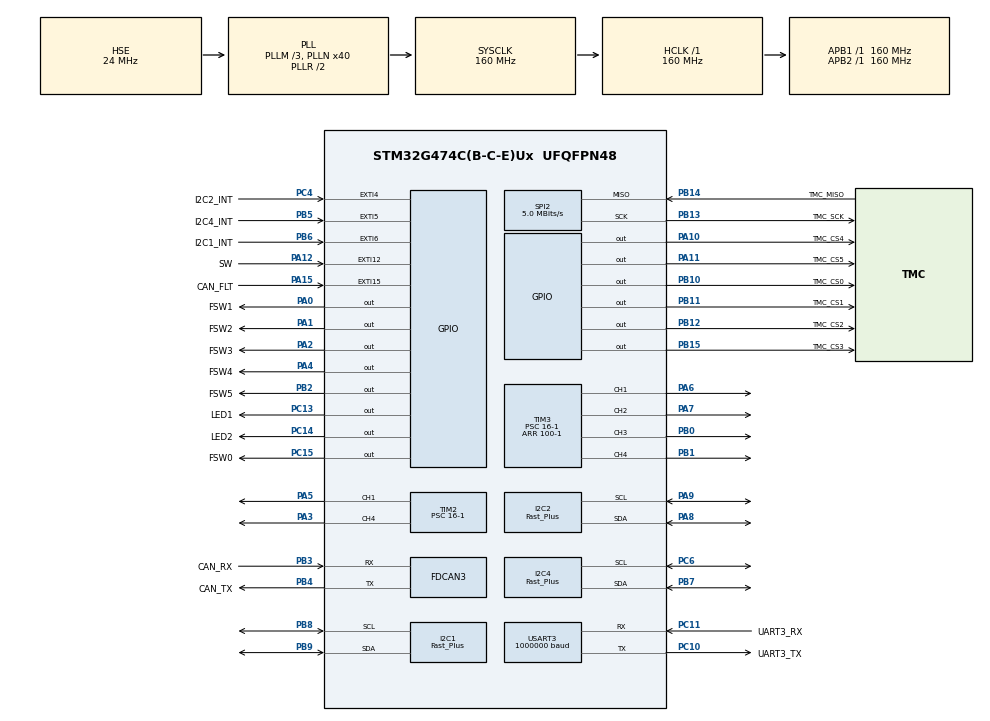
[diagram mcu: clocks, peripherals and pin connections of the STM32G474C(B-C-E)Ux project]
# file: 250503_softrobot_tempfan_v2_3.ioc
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Dma.Request0=SPI2_RX
Dma.Request1=USART3_TX
Dma.SPI2_RX.0.Direction=DMA_PERIPH_TO_MEMORY
Dma.SPI2_RX.0.EventEnable=DISABLE
Dma.SPI2_RX.0.Instance=DMA1_Channel2
Dma.SPI2_RX.0.MemDataAlignment=DMA_MDATAALIGN_BYTE
Dma.SPI2_RX.0.MemInc=DMA_MINC_ENABLE
Dma.SPI2_RX.0.Mode=DMA_NORMAL
Dma.SPI2_RX.0.PeriphDataAlignment=DMA_PDATAALIGN_BYTE
Dma.SPI2_RX.0.PeriphInc=DMA_PINC_DISABLE
Dma.SPI2_RX.0.Polarity=HAL_DMAMUX_REQ_GEN_RISING
Dma.SPI2_RX.0.Priority=DMA_PRIORITY_HIGH
Dma.SPI2_RX.0.RequestNumber=1
Dma.SPI2_RX.0.SignalID=NONE
Dma.SPI2_RX.0.SyncEnable=DISABLE
Dma.SPI2_RX.0.SyncPolarity=HAL_DMAMUX_SYNC_NO_EVENT
Dma.SPI2_RX.0.SyncRequestNumber=1
Dma.SPI2_RX.0.SyncSignalID=NONE
Dma.USART3_TX.1.Direction=DMA_MEMORY_TO_PERIPH
Dma.USART3_TX.1.EventEnable=DISABLE
Dma.USART3_TX.1.Instance=DMA1_Channel1
Dma.USART3_TX.1.MemDataAlignment=DMA_MDATAALIGN_BYTE
Dma.USART3_TX.1.MemInc=DMA_MINC_ENABLE
Dma.USART3_TX.1.Mode=DMA_NORMAL
Dma.USART3_TX.1.PeriphDataAlignment=DMA_PDATAALIGN_BYTE
Dma.USART3_TX.1.PeriphInc=DMA_PINC_DISABLE
Dma.USART3_TX.1.Polarity=HAL_DMAMUX_REQ_GEN_RISING
Dma.USART3_TX.1.Priority=DMA_PRIORITY_LOW
Dma.USART3_TX.1.RequestNumber=1
Dma.USART3_TX.1.SignalID=NONE
Dma.USART3_TX.1.SyncEnable=DISABLE
Dma.USART3_TX.1.SyncPolarity=HAL_DMAMUX_SYNC_NO_EVENT
Dma.USART3_TX.1.SyncRequestNumber=1
Dma.USART3_TX.1.SyncSignalID=NONE
FDCAN3.CalculateBaudRateNominal=1000000
FDCAN3.CalculateTimeBitNominal=1000
FDCAN3.CalculateTimeQuantumNominal=25.0
FDCAN3.DataPrescaler=8
FDCAN3.DataSyncJumpWidth=10
FDCAN3.DataTimeSeg1=9
FDCAN3.DataTimeSeg2=10
FDCAN3.ExtFiltersNbr=1
FDCAN3.FrameFormat=FDCAN_FRAME_FD_NO_BRS
FDCAN3.NominalPrescaler=4
FDCAN3.NominalSyncJumpWidth=5
FDCAN3.NominalTimeSeg1=34
FDCAN3.NominalTimeSeg2=5
FDCAN3.StdFiltersNbr=1
I2C1.I2C_Speed_Mode=I2C_Fast_Plus
I2C1.Timing=0x10B30F25
I2C2.I2C_Speed_Mode=I2C_Fast_Plus
I2C2.Timing=0x10B30F25
I2C4.I2C_Speed_Mode=I2C_Fast_Plus
I2C4.Timing=0x10B30F25
Mcu.Family=STM32G4
Mcu.Name=STM32G474C(B-C-E)Ux
Mcu.Package=UFQFPN48
NVIC.DMA1_Channel1_IRQn=true\:0\:1\:false\:false\:true\:false\:true\:true
NVIC.DMA1_Channel2_IRQn=true\:0\:1\:false\:false\:true\:false\:true\:true
NVIC.EXTI15_10_IRQn=true\:0\:0\:false\:false\:true\:true\:true\:true
NVIC.FDCAN3_IT0_IRQn=true\:0\:1\:false\:false\:true\:true\:true\:true
NVIC.PriorityGroup=NVIC_PRIORITYGROUP_1
NVIC.SPI2_IRQn=true\:0\:2\:false\:false\:true\:true\:true\:true
NVIC.TIM4_IRQn=true\:1\:0\:true\:false\:true\:true\:true\:true
NVIC.TIM5_IRQn=true\:1\:0\:true\:false\:true\:true\:true\:true
NVIC.USART3_IRQn=true\:0\:3\:false\:false\:true\:true\:true\:true
PA0.GPIO_Label=FSW1
PA0.Signal=GPIO_Output
PA1.GPIO_Label=FSW2
PA1.Signal=GPIO_Output
PA10.GPIO_Label=TMC_CS4
PA10.GPIO_Speed=GPIO_SPEED_FREQ_HIGH
PA10.PinState=GPIO_PIN_SET
PA10.Signal=GPIO_Output
PA11.GPIO_Label=TMC_CS5
PA11.GPIO_Speed=GPIO_SPEED_FREQ_HIGH
PA11.PinState=GPIO_PIN_SET
PA11.Signal=GPIO_Output
PA12.GPIO_Label=SW
PA12.GPIO_ModeDefaultEXTI=GPIO_MODE_IT_FALLING
PA12.Signal=GPXTI12
PA13.Mode=Serial_Wire
PA13.Signal=SYS_JTMS-SWDIO
PA14.Mode=Serial_Wire
PA14.Signal=SYS_JTCK-SWCLK
PA15.GPIO_Label=CAN_FLT
PA15.GPIO_ModeDefaultEXTI=GPIO_MODE_IT_FALLING
PA15.Signal=GPXTI15
PA2.GPIO_Label=FSW3
PA2.Signal=GPIO_Output
PA3.Signal=S_TIM2_CH4
PA4.GPIO_Label=FSW4
PA4.Signal=GPIO_Output
PA5.Signal=S_TIM2_CH1
PA6.Signal=S_TIM3_CH1
PA7.Signal=S_TIM3_CH2
PA8.Mode=I2C
PA8.Signal=I2C2_SDA
PA9.Mode=I2C
PA9.Signal=I2C2_SCL
PB0.Signal=S_TIM3_CH3
PB1.Signal=S_TIM3_CH4
PB10.GPIO_Label=TMC_CS0
PB10.GPIO_Speed=GPIO_SPEED_FREQ_HIGH
PB10.PinState=GPIO_PIN_SET
PB10.Signal=GPIO_Output
PB11.GPIO_Label=TMC_CS1
PB11.GPIO_Speed=GPIO_SPEED_FREQ_HIGH
PB11.PinState=GPIO_PIN_SET
PB11.Signal=GPIO_Output
PB12.GPIO_Label=TMC_CS2
PB12.GPIO_Speed=GPIO_SPEED_FREQ_HIGH
PB12.PinState=GPIO_PIN_SET
PB12.Signal=GPIO_Output
PB13.GPIO_Label=TMC_SCK
PB13.GPIO_Speed=GPIO_SPEED_FREQ_VERY_HIGH
PB13.Mode=RX_Only_Simplex_Unidirect_Master
PB13.Signal=SPI2_SCK
PB14.GPIO_Label=TMC_MISO
PB14.GPIO_Speed=GPIO_SPEED_FREQ_VERY_HIGH
PB14.Mode=RX_Only_Simplex_Unidirect_Master
PB14.Signal=SPI2_MISO
PB15.GPIO_Label=TMC_CS3
PB15.GPIO_Speed=GPIO_SPEED_FREQ_HIGH
PB15.PinState=GPIO_PIN_SET
PB15.Signal=GPIO_Output
PB2.GPIO_Label=FSW5
PB2.Signal=GPIO_Output
PB3.GPIO_Label=CAN_RX
PB3.GPIO_Speed=GPIO_SPEED_FREQ_VERY_HIGH
PB3.Mode=FDCAN_Activate
PB3.Signal=FDCAN3_RX
PB4.GPIO_Label=CAN_TX
PB4.GPIO_Speed=GPIO_SPEED_FREQ_VERY_HIGH
PB4.Mode=FDCAN_Activate
PB4.Signal=FDCAN3_TX
PB5.GPIO_Label=I2C4_INT
PB5.GPIO_ModeDefaultEXTI=GPIO_MODE_IT_FALLING
PB5.Signal=GPXTI5
PB6.GPIO_Label=I2C1_INT
PB6.GPIO_ModeDefaultEXTI=GPIO_MODE_IT_FALLING
PB6.Signal=GPXTI6
PB7.Mode=I2C
PB7.Signal=I2C4_SDA
PB8-BOOT0.Mode=I2C
PB8-BOOT0.Signal=I2C1_SCL
PB9.Mode=I2C
PB9.Signal=I2C1_SDA
PC10.GPIO_Label=UART3_TX
PC10.Mode=Asynchronous
PC10.Signal=USART3_TX
PC11.GPIO_Label=UART3_RX
PC11.Mode=Asynchronous
PC11.Signal=USART3_RX
PC13.GPIO_Label=LED1
PC13.PinState=GPIO_PIN_SET
PC13.Signal=GPIO_Output
PC14-OSC32_IN.GPIO_Label=LED2
PC14-OSC32_IN.PinState=GPIO_PIN_SET
PC14-OSC32_IN.Signal=GPIO_Output
PC15-OSC32_OUT.GPIO_Label=FSW0
PC15-OSC32_OUT.Signal=GPIO_Output
PC4.GPIO_Label=I2C2_INT
PC4.GPIO_ModeDefaultEXTI=GPIO_MODE_IT_FALLING
PC4.Signal=GPXTI4
PC6.Mode=I2C
PC6.Signal=I2C4_SCL
PF0-OSC_IN.Mode=HSE-External-Oscillator
PF0-OSC_IN.Signal=RCC_OSC_IN
PF1-OSC_OUT.Mode=HSE-External-Oscillator
PF1-OSC_OUT.Signal=RCC_OSC_OUT
ProjectManager.HeapSize=0x200
ProjectManager.StackSize=0x400
ProjectManager.TargetToolchain=STM32CubeIDE
RCC.ADC12Freq_Value=160000000
RCC.ADC345Freq_Value=160000000
RCC.AHBFreq_Value=160000000
RCC.APB1Freq_Value=160000000
RCC.APB1TimFreq_Value=160000000
RCC.APB2Freq_Value=160000000
RCC.APB2TimFreq_Value=160000000
RCC.CortexFreq_Value=160000000
RCC.EXTERNAL_CLOCK_VALUE=12288000
RCC.HCLKFreq_Value=160000000
RCC.HSE_VALUE=24000000
RCC.HSI48_VALUE=48000000
RCC.HSI_VALUE=16000000
RCC.LSE_VALUE=32768
RCC.PLLM=RCC_PLLM_DIV3
RCC.PLLN=40
RCC.PLLSourceVirtual=RCC_PLLSOURCE_HSE
RCC.SYSCLKFreq_VALUE=160000000
RCC.SYSCLKSource=RCC_SYSCLKSOURCE_PLLCLK
RCC.USBFreq_Value=160000000
RCC.VCOOutputFreq_Value=320000000
SH.S_TIM2_CH1.0=TIM2_CH1,PWM Generation1 CH1
SH.S_TIM2_CH4.0=TIM2_CH4,PWM Generation4 CH4
SH.S_TIM3_CH1.0=TIM3_CH1,PWM Generation1 CH1
SH.S_TIM3_CH2.0=TIM3_CH2,PWM Generation2 CH2
SH.S_TIM3_CH3.0=TIM3_CH3,PWM Generation3 CH3
SH.S_TIM3_CH4.0=TIM3_CH4,PWM Generation4 CH4
SPI2.BaudRatePrescaler=SPI_BAUDRATEPRESCALER_32
SPI2.CLKPhase=SPI_PHASE_1EDGE
SPI2.CalculateBaudRate=5.0 MBits/s
SPI2.DataSize=SPI_DATASIZE_8BIT
SPI2.Direction=SPI_DIRECTION_2LINES_RXONLY
SPI2.Mode=SPI_MODE_MASTER
SPI2.VirtualType=VM_MASTER
TIM2.Channel-PWM\ Generation1\ CH1=TIM_CHANNEL_1
TIM2.Channel-PWM\ Generation4\ CH4=TIM_CHANNEL_4
TIM2.PeriodNoDither=100-1
TIM2.Prescaler=16-1
TIM2.PulseNoDither_1=0
TIM2.PulseNoDither_4=0
TIM3.Channel-PWM\ Generation1\ CH1=TIM_CHANNEL_1
TIM3.Channel-PWM\ Generation2\ CH2=TIM_CHANNEL_2
TIM3.Channel-PWM\ Generation3\ CH3=TIM_CHANNEL_3
TIM3.Channel-PWM\ Generation4\ CH4=TIM_CHANNEL_4
TIM3.PeriodNoDither=100-1
TIM3.Prescaler=16-1
TIM3.PulseNoDither_1=0
TIM3.PulseNoDither_2=0
TIM3.PulseNoDither_3=0
TIM3.PulseNoDither_4=0
TIM4.AutoReloadPreload=TIM_AUTORELOAD_PRELOAD_ENABLE
TIM4.PeriodNoDither=4000-1
TIM4.Prescaler=160-1
TIM5.AutoReloadPreload=TIM_AUTORELOAD_PRELOAD_ENABLE
TIM5.PeriodNoDither=8000-1
TIM5.Prescaler=160-1
USART3.BaudRate=1000000
USART3.VirtualMode-Asynchronous=VM_ASYNC
VP_SYS_VS_DBSignals.Mode=DisableDeadBatterySignals
VP_TIM2_VS_ClockSourceINT.Mode=Internal
VP_TIM3_VS_ClockSourceINT.Mode=Internal
VP_TIM4_VS_ClockSourceINT.Mode=Internal
VP_TIM5_VS_ClockSourceINT.Mode=Internal
board=custom

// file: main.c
/* USER CODE BEGIN Header */
/**
  ******************************************************************************
  * @file           : main.c
  * @brief          : Main program body
  ******************************************************************************
  * @attention
  *
  * Copyright (c) 2024 STMicroelectronics.
  * All rights reserved.
  *
  * This software is licensed under terms that can be found in the LICENSE file
  * in the root directory of this software component.
  * If no LICENSE file comes with this software, it is provided AS-IS.
  *
  ******************************************************************************
  */
/* USER CODE END Header */
#include "main.h"

FDCAN_HandleTypeDef hfdcan3;

I2C_HandleTypeDef hi2c1;
I2C_HandleTypeDef hi2c2;
I2C_HandleTypeDef hi2c4;

TIM_HandleTypeDef htim2;
TIM_HandleTypeDef htim3;
TIM_HandleTypeDef htim4;
TIM_HandleTypeDef htim5;

UART_HandleTypeDef huart3;
DMA_HandleTypeDef hdma_usart3_tx;

/* USER CODE BEGIN PV */
System_typedef system;
extern PID_Manager_typedef pid;

Databuf_FDCAN_typedef data_fdcan;

static FLASH_EraseInitTypeDef EraseInitStruct;
param_union param;
param_union param_flash;

extern MAX31855_typedef tmc;

/* USER CODE END PV */

void SystemClock_Config(void);
static void MX_GPIO_Init(void);
static void MX_DMA_Init(void);
static void MX_I2C2_Init(void);
static void MX_I2C4_Init(void);
static void MX_SPI2_Init(void);
static void MX_USART3_UART_Init(void);
static void MX_TIM2_Init(void);
static void MX_TIM3_Init(void);
static void MX_FDCAN3_Init(void);
static void MX_TIM5_Init(void);
static void MX_I2C1_Init(void);
static void MX_TIM4_Init(void);

/* USER CODE BEGIN 0 */
void delay_nop(uint32_t n)
{
	for (; n > 0; n--)
		__NOP();
}

void delay_us(uint32_t n)
{
	for (n=n*8; n > 0; n--)
		__NOP();
}

//Flash Control------------------------------------------------------------------------------------
void Flash_Erase(uint32_t erase_page_add, uint32_t erase_page_num)
{
	uint32_t PAGEError = 0;
//
	EraseInitStruct.TypeErase   	= FLASH_TYPEERASE_PAGES;
	EraseInitStruct.Banks			= FLASH_BANK_1;
	EraseInitStruct.Page			= erase_page_add;
	EraseInitStruct.NbPages			= erase_page_num;
//
	if (HAL_FLASHEx_Erase(&EraseInitStruct, &PAGEError) != HAL_OK)
		Error_Handler();
}

void Flash_Write(uint32_t address, uint64_t *write_data, uint16_t length)
{
	uint32_t address_cnt = address;
	uint16_t write_cnt = 0;

	while (write_cnt < length)
	{
		if (HAL_FLASH_Program(FLASH_TYPEPROGRAM_DOUBLEWORD, address_cnt, write_data[write_cnt]) == HAL_OK)
			address_cnt = address_cnt + 8;
		else
			Error_Handler();
		write_cnt++;
	}
}

void Flash_Read(uint32_t address, uint64_t *read_data, uint16_t length)
{
	uint32_t address_cnt = address;
	uint16_t read_cnt = 0;

	while (read_cnt < length)
	{
		read_data[read_cnt++] = *(__IO uint64_t *)address_cnt;
		address_cnt = address_cnt + 8;
	}
}

//FDCAN-------------------------------------------------------------------------------------------
void Manual_Control (uint8_t ch)
{
	// PWM 값 업데이트
	*system.pnt_pwm[ch] = system.ctrl_param_now.pwm[ch];
	system.state_pwm[ch] = system.ctrl_param_now.pwm[ch];
	printf("CH %u PWM updated %u -> %u\r\n", ch, system.ctrl_param_save.pwm[ch], system.ctrl_param_now.pwm[ch]);

	// [팬 상태 업데이트] 현재 입력받은 값을 즉시 하드웨어 반영하도록 함
  if (system.ctrl_param_now.fan[ch] == 1)
  {
    FSW_on(ch);
    system.state_fsw[ch] = FAN_ON;
  }
  else
  {
    FSW_off(ch);
    system.state_fsw[ch] = FAN_OFF;
  }
	// 상태확인용 출력 메시지
  printf("CH %u Manual Update: PWM=%u, FAN=%s\r\n", ch, system.state_pwm[ch], (system.state_fsw[ch] == FAN_ON) ? "ON" : "OFF");
  // 제어 파라미터 동기화
  system.ctrl_param_save.fan[ch] = system.ctrl_param_now.fan[ch];
}

void HAL_FDCAN_RxFifo0Callback(FDCAN_HandleTypeDef *hfdcan, uint32_t RxFifo0ITs)
{
	if((RxFifo0ITs & FDCAN_IT_RX_FIFO0_NEW_MESSAGE) == RESET)
    {
        return;
    }

    /* Retrieve Rx messages from RX FIFO0 */
	FDCAN_RxHeaderTypeDef rx_header;
	uint8_t rx_data[64];
    if (HAL_FDCAN_GetRxMessage(hfdcan, FDCAN_RX_FIFO0, &rx_header, rx_data) != HAL_OK)
    {
        Error_Handler();
        return;
    }

    //Dongsu.2025.04.10
	if ((rx_header.Identifier == CAN3_RXID_COMMAND) && (rx_header.DataLength == FDCAN_DLC_BYTES_64))
	{
		/* 기존 제어 메시지 처리 (0x400) */
	    /* 기존 처리 로직 - 변경 없음 */
		if (system.state_level == SYSTEM_GO)
        {
			memcpy(&system.ctrl_param_now, rx_data, RX_BYTE_CTRL_PARAM);
			for (uint8_t i = 0; i < CTRL_CH; i++)
			{
			// PID 제어 활성화 상태 처리
				if (pid.enable_pid[i] != system.ctrl_param_now.enable_pid[i])
				{
					pid.enable_pid[i] = system.ctrl_param_now.enable_pid[i];

					if (pid.enable_pid[i])
					{
					    // PID 제어 활성화 시 초기화 작업
						pid.params[i].error_sum = 0.0f;
						pid.params[i].last_error = 0.0f;
						pid.params[i].safety_mode = 0;

						// 목표 온도 설정 (0.25도 단위로 변환)
						float new_target = (float)system.ctrl_param_now.target_temp[i] / 4.0f;
						pid.params[i].setpoint = new_target;

						printf("CH %u PID enabled, Target temp: %.2f°C\r\n", i, pid.params[i].setpoint);
					}
				    else if (!pid.enable_pid[i])
				    {
				        printf("CH %u PID disabled\r\n", i);
				        Manual_Control(i);

				        if (pid.params[i].safety_mode > 0) {
				            printf("CH %u Safety mode reset by PID disable command\r\n", i);
				            pid.params[i].safety_mode = 0;
				            Update_Fan_Status(i);
				        }
				    }
				}
				// PID 활성 상태에서 목표 온도 변경
				else if (pid.enable_pid[i] && ((float)system.ctrl_param_now.target_temp[i]/4.0f != pid.params[i].setpoint))
				{
					  float new_target = (float)system.ctrl_param_now.target_temp[i] / 4.0f;

					  pid.params[i].setpoint = new_target;
					  if (pid.params[i].setpoint > pid.params[i].max_temp)
					  {
						  pid.params[i].setpoint = pid.params[i].max_temp;
					  }
					  printf("CH %u Target temp updated: %.2f°C\r\n", i, pid.params[i].setpoint);
				}
				// PID가 비활성화된 경우 직접 PWM 및 팬 제어
				if (!pid.enable_pid[i])
				{
					Manual_Control(i);
				}
			}
			LED1_toggle;
			system.ctrl_param_save = system.ctrl_param_now;
        }
	}
	else if ((rx_header.Identifier == CAN3_RXID_GAIN_UPDATE) && (rx_header.DataLength == FDCAN_DLC_BYTES_64))
	{
		/* 버퍼 데이터를 PID 튜닝 구조체로 복사 */
	    memcpy(&pid.buf_fdcan_pid_tuning.uint8, rx_data, RX_BYTE_PID_TUNING);

	    /* 채널 번호 유효성 검사 */
	    uint8_t ch = pid.buf_fdcan_pid_tuning.struc.channel;
	    if (ch < CTRL_CH)
	    {
	    	/* PID 게인 값 설정 */
	        pid.params[ch].kp = pid.buf_fdcan_pid_tuning.struc.kp;
	        pid.params[ch].ki = pid.buf_fdcan_pid_tuning.struc.ki;
	        pid.params[ch].kd = pid.buf_fdcan_pid_tuning.struc.kd;
	        printf("PID Gains updated for CH %u: Kp=%.2f, Ki=%.4f, Kd=%.4f\r\n", ch, pid.params[ch].kp, pid.params[ch].ki, pid.params[ch].kd);

	        LED2_toggle;  // PID 튜닝 메시지 수신 표시
	        }
        else
        {
        	printf("Error: Invalid channel number %u\r\n", ch);
        }
	}
}

void HAL_TIM_PeriodElapsedCallback(TIM_HandleTypeDef *htim)
{
	if(htim->Instance == htim4.Instance)
	{
		TMC_Scan (CTRL_CH);

		for (uint8_t i = 0; i < CTRL_CH; i++)
		{
			pid.shared_data.temp_data[i] = tmc.temp_ext14[i];

      // 센서 유효성 즉시 검사
      Check_Temperature_Sensor(i, pid.shared_data.temp_data[i]);

			system.buf_fdcan_tx.struc.fan[i] = system.state_fsw[i];
			system.buf_fdcan_tx.struc.pwm[i] = *system.pnt_pwm[i];
			system.buf_fdcan_tx.struc.temp[i] = tmc.temp_ext14_raw[i];
		}

    // 타임스탬프 및 플래그 설정
    pid.shared_data.temp_timestamp = HAL_GetTick();
    pid.shared_data.new_temp_data = 1;  // 새 데이터 플래그 설정

		FDCAN_TxHeaderTypeDef tx_header;
		FDCAN_Config_TX(&tx_header, CAN3_TXID_STATE, FDCAN_DLC_BYTES_24);
		if (HAL_FDCAN_AddMessageToTxFifoQ(&hfdcan3, &tx_header, system.buf_fdcan_tx.uint8)!= HAL_OK)
		{
			Error_Handler();
		}

	}

	else if(htim->Instance == htim5.Instance)
	{
		static uint8_t startup_counter = 0;
		if (pid.startup_phase) {
		    startup_counter++;
		    if (startup_counter >= 10) {  // 10번의 TIM5 인터럽트 후 (약 1초)
		        pid.startup_phase = 0;
		        startup_counter = 0;
		    }
		}

    for (uint8_t i = 0; i < CTRL_CH; i++)
		{
      // 1. 안전 온도 확인 (최우선 처리)
      bool in_safety_mode = Check_Safety_Temperature(i, pid.shared_data.temp_data[i]);

      // 2. PID 활성화 상태 및 안전 모드 확인
      if (pid.enable_pid[i] && !in_safety_mode)
      {
        float current_temp = pid.shared_data.temp_data[i];
        float target_temp = pid.params[i].setpoint;

        //센서 이상 확인
        //bool sensor_ok = Check_Temperature_Rise_Rate(i, current_temp);
        bool sensor_ok = true; // 온도 상승 안전모드 일단 주석처리

        if (sensor_ok)
        {
          // 제어 연산 수행
          float ctrl_output = Calculate_Ctrl(&pid.params[i], current_temp, i);
  				Set_PWM_Output(i, (uint8_t)ctrl_output);

					// 5. 온도 기반 팬 제어
					Control_Fan_By_Temperature(i, current_temp, target_temp);
        }
      }
    }
	}
}

void HAL_GPIO_EXTI_Callback(uint16_t GPIO_Pin)
{
	if (GPIO_Pin == SW_Pin)
	{
		if (system.state_level == SYSTEM_READY)
		{
			LED1_on;
//		    printf("Go!\r\n");
		    system.state_level = SYSTEM_GO;
//			HAL_NVIC_EnableIRQ(ADC1_RDY_EXTI_IRQn);

//			Reg_Write_ADS8167(CMD_SET_BITS, ADSREG_ADD_SEQ_START, 0x01);
//		    HAL_TIM_Base_Start_IT(&htim2);
		}
		else if (system.state_level == SYSTEM_GO)
		{
//			HAL_TIM_Base_Stop_IT(&htim2);
//			Reg_Write_ADS8167(CMD_SET_BITS, ADSREG_ADD_SEQ_ABORT, 0x01);

//			HAL_NVIC_DisableIRQ(ADC1_RDY_EXTI_IRQn);
			system.state_level = SYSTEM_READY;
//		    printf("Stop!\r\n");
			LED1_off;
		}
	}
}

/* USER CODE END 0 */

int main(void)
{

  /* MCU Configuration--------------------------------------------------------*/

  /* Reset of all peripherals, Initializes the Flash interface and the Systick. */
  HAL_Init();

  /* Configure the system clock */
  SystemClock_Config();

  /* USER CODE BEGIN SysInit */
  pid.startup_phase = 1;

  /* USER CODE END SysInit */

  /* Initialize all configured peripherals */
  MX_GPIO_Init();
  MX_DMA_Init();
  MX_I2C2_Init();
  MX_I2C4_Init();
  MX_SPI2_Init();
  MX_USART3_UART_Init();
  MX_TIM2_Init();
  MX_TIM3_Init();
  MX_FDCAN3_Init();
  MX_TIM5_Init();
  MX_I2C1_Init();
  MX_TIM4_Init();
  /* USER CODE BEGIN 2 */
	setbuf(stdin, NULL);

	system.pnt_pwm[0] = &TIM2->CCR4;
	system.pnt_pwm[1] = &TIM2->CCR1;
	system.pnt_pwm[2] = &TIM3->CCR1;
	system.pnt_pwm[3] = &TIM3->CCR2;
	system.pnt_pwm[4] = &TIM3->CCR3;
	system.pnt_pwm[5] = &TIM3->CCR4;

	HAL_TIM_PWM_Start(&PWM0_TIM, PWM0_TIM_CH);
	HAL_TIM_PWM_Start(&PWM1_TIM, PWM1_TIM_CH);
	HAL_TIM_PWM_Start(&PWM2_TIM, PWM2_TIM_CH);
	HAL_TIM_PWM_Start(&PWM3_TIM, PWM3_TIM_CH);
	HAL_TIM_PWM_Start(&PWM4_TIM, PWM4_TIM_CH);
	HAL_TIM_PWM_Start(&PWM5_TIM, PWM5_TIM_CH);

	system.n_rx_motion_limit = 1;
	FDCAN_Init();

	HAL_Delay(500);
	LL_SPI_Setup ();		//seungchan.2024.11.03 : INT

	HAL_NVIC_SetPriority(TIM4_IRQn, 3, 0);  // Timer4: 가장 높은 우선순위
	HAL_NVIC_SetPriority(TIM5_IRQn, 3, 1);  // Timer5: 두 번째 우선순위

	HAL_TIM_Base_Start_IT(&htim4);
	HAL_TIM_Base_Start_IT(&htim5);

	Init_PID_Controllers(); //Dongsu.2025.04.10

//	system.state_level = SYSTEM_READY;
	system.state_level = SYSTEM_GO;
	LED1_on;
  /* USER CODE END 2 */

  /* Infinite loop */
	while (1)
	{

	}
}

void SystemClock_Config(void)
{
  RCC_OscInitTypeDef RCC_OscInitStruct = {0};
  RCC_ClkInitTypeDef RCC_ClkInitStruct = {0};

  /** Configure the main internal regulator output voltage
  */
  HAL_PWREx_ControlVoltageScaling(PWR_REGULATOR_VOLTAGE_SCALE1_BOOST);

  /** Initializes the RCC Oscillators according to the specified parameters
  * in the RCC_OscInitTypeDef structure.
  */
  RCC_OscInitStruct.OscillatorType = RCC_OSCILLATORTYPE_HSE;
  RCC_OscInitStruct.HSEState = RCC_HSE_ON;
  RCC_OscInitStruct.PLL.PLLState = RCC_PLL_ON;
  RCC_OscInitStruct.PLL.PLLSource = RCC_PLLSOURCE_HSE;
  RCC_OscInitStruct.PLL.PLLM = RCC_PLLM_DIV3;
  RCC_OscInitStruct.PLL.PLLN = 40;
  RCC_OscInitStruct.PLL.PLLP = RCC_PLLP_DIV2;
  RCC_OscInitStruct.PLL.PLLQ = RCC_PLLQ_DIV2;
  RCC_OscInitStruct.PLL.PLLR = RCC_PLLR_DIV2;
  if (HAL_RCC_OscConfig(&RCC_OscInitStruct) != HAL_OK)
  {
    Error_Handler();
  }

  /** Initializes the CPU, AHB and APB buses clocks
  */
  RCC_ClkInitStruct.ClockType = RCC_CLOCKTYPE_HCLK|RCC_CLOCKTYPE_SYSCLK
                              |RCC_CLOCKTYPE_PCLK1|RCC_CLOCKTYPE_PCLK2;
  RCC_ClkInitStruct.SYSCLKSource = RCC_SYSCLKSOURCE_PLLCLK;
  RCC_ClkInitStruct.AHBCLKDivider = RCC_SYSCLK_DIV1;
  RCC_ClkInitStruct.APB1CLKDivider = RCC_HCLK_DIV1;
  RCC_ClkInitStruct.APB2CLKDivider = RCC_HCLK_DIV1;

  if (HAL_RCC_ClockConfig(&RCC_ClkInitStruct, FLASH_LATENCY_4) != HAL_OK)
  {
    Error_Handler();
  }
}

static void MX_FDCAN3_Init(void)
{

  hfdcan3.Instance = FDCAN3;
  hfdcan3.Init.ClockDivider = FDCAN_CLOCK_DIV1;
  hfdcan3.Init.FrameFormat = FDCAN_FRAME_FD_NO_BRS;
  hfdcan3.Init.Mode = FDCAN_MODE_NORMAL;
  hfdcan3.Init.AutoRetransmission = DISABLE;
  hfdcan3.Init.TransmitPause = DISABLE;
  hfdcan3.Init.ProtocolException = DISABLE;
  hfdcan3.Init.NominalPrescaler = 4;
  hfdcan3.Init.NominalSyncJumpWidth = 5;
  hfdcan3.Init.NominalTimeSeg1 = 34;
  hfdcan3.Init.NominalTimeSeg2 = 5;
  hfdcan3.Init.DataPrescaler = 8;
  hfdcan3.Init.DataSyncJumpWidth = 10;
  hfdcan3.Init.DataTimeSeg1 = 9;
  hfdcan3.Init.DataTimeSeg2 = 10;
  hfdcan3.Init.StdFiltersNbr = 1;
  hfdcan3.Init.ExtFiltersNbr = 1;
  hfdcan3.Init.TxFifoQueueMode = FDCAN_TX_FIFO_OPERATION;
  if (HAL_FDCAN_Init(&hfdcan3) != HAL_OK)
  {
    Error_Handler();
  }

}

static void MX_I2C1_Init(void)
{

  hi2c1.Instance = I2C1;
  hi2c1.Init.Timing = 0x10B30F25;
  hi2c1.Init.OwnAddress1 = 0;
  hi2c1.Init.AddressingMode = I2C_ADDRESSINGMODE_7BIT;
  hi2c1.Init.DualAddressMode = I2C_DUALADDRESS_DISABLE;
  hi2c1.Init.OwnAddress2 = 0;
  hi2c1.Init.OwnAddress2Masks = I2C_OA2_NOMASK;
  hi2c1.Init.GeneralCallMode = I2C_GENERALCALL_DISABLE;
  hi2c1.Init.NoStretchMode = I2C_NOSTRETCH_DISABLE;
  if (HAL_I2C_Init(&hi2c1) != HAL_OK)
  {
    Error_Handler();
  }

  /** Configure Analogue filter
  */
  if (HAL_I2CEx_ConfigAnalogFilter(&hi2c1, I2C_ANALOGFILTER_ENABLE) != HAL_OK)
  {
    Error_Handler();
  }

  /** Configure Digital filter
  */
  if (HAL_I2CEx_ConfigDigitalFilter(&hi2c1, 0) != HAL_OK)
  {
    Error_Handler();
  }

  /** I2C Fast mode Plus enable
  */
  HAL_I2CEx_EnableFastModePlus(I2C_FASTMODEPLUS_I2C1);

}

static void MX_I2C2_Init(void)
{

  hi2c2.Instance = I2C2;
  hi2c2.Init.Timing = 0x10B30F25;
  hi2c2.Init.OwnAddress1 = 0;
  hi2c2.Init.AddressingMode = I2C_ADDRESSINGMODE_7BIT;
  hi2c2.Init.DualAddressMode = I2C_DUALADDRESS_DISABLE;
  hi2c2.Init.OwnAddress2 = 0;
  hi2c2.Init.OwnAddress2Masks = I2C_OA2_NOMASK;
  hi2c2.Init.GeneralCallMode = I2C_GENERALCALL_DISABLE;
  hi2c2.Init.NoStretchMode = I2C_NOSTRETCH_DISABLE;
  if (HAL_I2C_Init(&hi2c2) != HAL_OK)
  {
    Error_Handler();
  }

  /** Configure Analogue filter
  */
  if (HAL_I2CEx_ConfigAnalogFilter(&hi2c2, I2C_ANALOGFILTER_ENABLE) != HAL_OK)
  {
    Error_Handler();
  }

  /** Configure Digital filter
  */
  if (HAL_I2CEx_ConfigDigitalFilter(&hi2c2, 0) != HAL_OK)
  {
    Error_Handler();
  }

  /** I2C Fast mode Plus enable
  */
  HAL_I2CEx_EnableFastModePlus(I2C_FASTMODEPLUS_I2C2);

}

static void MX_I2C4_Init(void)
{

  hi2c4.Instance = I2C4;
  hi2c4.Init.Timing = 0x10B30F25;
  hi2c4.Init.OwnAddress1 = 0;
  hi2c4.Init.AddressingMode = I2C_ADDRESSINGMODE_7BIT;
  hi2c4.Init.DualAddressMode = I2C_DUALADDRESS_DISABLE;
  hi2c4.Init.OwnAddress2 = 0;
  hi2c4.Init.OwnAddress2Masks = I2C_OA2_NOMASK;
  hi2c4.Init.GeneralCallMode = I2C_GENERALCALL_DISABLE;
  hi2c4.Init.NoStretchMode = I2C_NOSTRETCH_DISABLE;
  if (HAL_I2C_Init(&hi2c4) != HAL_OK)
  {
    Error_Handler();
  }

  /** Configure Analogue filter
  */
  if (HAL_I2CEx_ConfigAnalogFilter(&hi2c4, I2C_ANALOGFILTER_ENABLE) != HAL_OK)
  {
    Error_Handler();
  }

  /** Configure Digital filter
  */
  if (HAL_I2CEx_ConfigDigitalFilter(&hi2c4, 0) != HAL_OK)
  {
    Error_Handler();
  }

  /** I2C Fast mode Plus enable
  */
  HAL_I2CEx_EnableFastModePlus(I2C_FASTMODEPLUS_I2C4);

}

static void MX_SPI2_Init(void)
{

  LL_SPI_InitTypeDef SPI_InitStruct = {0};

  LL_GPIO_InitTypeDef GPIO_InitStruct = {0};

  /* Peripheral clock enable */
  LL_APB1_GRP1_EnableClock(LL_APB1_GRP1_PERIPH_SPI2);

  LL_AHB2_GRP1_EnableClock(LL_AHB2_GRP1_PERIPH_GPIOB);
  /**SPI2 GPIO Configuration
  PB13   ------> SPI2_SCK
  PB14   ------> SPI2_MISO
  */
  GPIO_InitStruct.Pin = LL_GPIO_PIN_13;
  GPIO_InitStruct.Mode = LL_GPIO_MODE_ALTERNATE;
  GPIO_InitStruct.Speed = LL_GPIO_SPEED_FREQ_VERY_HIGH;
  GPIO_InitStruct.OutputType = LL_GPIO_OUTPUT_PUSHPULL;
  GPIO_InitStruct.Pull = LL_GPIO_PULL_NO;
  GPIO_InitStruct.Alternate = LL_GPIO_AF_5;
  LL_GPIO_Init(GPIOB, &GPIO_InitStruct);

  GPIO_InitStruct.Pin = LL_GPIO_PIN_14;
  GPIO_InitStruct.Mode = LL_GPIO_MODE_ALTERNATE;
  GPIO_InitStruct.Speed = LL_GPIO_SPEED_FREQ_VERY_HIGH;
  GPIO_InitStruct.OutputType = LL_GPIO_OUTPUT_PUSHPULL;
  GPIO_InitStruct.Pull = LL_GPIO_PULL_NO;
  GPIO_InitStruct.Alternate = LL_GPIO_AF_5;
  LL_GPIO_Init(GPIOB, &GPIO_InitStruct);

  /* SPI2 DMA Init */

  /* SPI2_RX Init */
  LL_DMA_SetPeriphRequest(DMA1, LL_DMA_CHANNEL_2, LL_DMAMUX_REQ_SPI2_RX);

  LL_DMA_SetDataTransferDirection(DMA1, LL_DMA_CHANNEL_2, LL_DMA_DIRECTION_PERIPH_TO_MEMORY);

  LL_DMA_SetChannelPriorityLevel(DMA1, LL_DMA_CHANNEL_2, LL_DMA_PRIORITY_HIGH);

  LL_DMA_SetMode(DMA1, LL_DMA_CHANNEL_2, LL_DMA_MODE_NORMAL);

  LL_DMA_SetPeriphIncMode(DMA1, LL_DMA_CHANNEL_2, LL_DMA_PERIPH_NOINCREMENT);

  LL_DMA_SetMemoryIncMode(DMA1, LL_DMA_CHANNEL_2, LL_DMA_MEMORY_INCREMENT);

  LL_DMA_SetPeriphSize(DMA1, LL_DMA_CHANNEL_2, LL_DMA_PDATAALIGN_BYTE);

  LL_DMA_SetMemorySize(DMA1, LL_DMA_CHANNEL_2, LL_DMA_MDATAALIGN_BYTE);

  /* SPI2 interrupt Init */
  NVIC_SetPriority(SPI2_IRQn, NVIC_EncodePriority(NVIC_GetPriorityGrouping(),0, 2));
  NVIC_EnableIRQ(SPI2_IRQn);

  /* SPI2 parameter configuration*/
  SPI_InitStruct.TransferDirection = LL_SPI_SIMPLEX_RX;
  SPI_InitStruct.Mode = LL_SPI_MODE_MASTER;
  SPI_InitStruct.DataWidth = LL_SPI_DATAWIDTH_8BIT;
  SPI_InitStruct.ClockPolarity = LL_SPI_POLARITY_LOW;
  SPI_InitStruct.ClockPhase = LL_SPI_PHASE_1EDGE;
  SPI_InitStruct.NSS = LL_SPI_NSS_SOFT;
  SPI_InitStruct.BaudRate = LL_SPI_BAUDRATEPRESCALER_DIV32;
  SPI_InitStruct.BitOrder = LL_SPI_MSB_FIRST;
  SPI_InitStruct.CRCCalculation = LL_SPI_CRCCALCULATION_DISABLE;
  SPI_InitStruct.CRCPoly = 7;
  LL_SPI_Init(SPI2, &SPI_InitStruct);
  LL_SPI_SetStandard(SPI2, LL_SPI_PROTOCOL_MOTOROLA);
  LL_SPI_EnableNSSPulseMgt(SPI2);

}

static void MX_TIM2_Init(void)
{

  TIM_ClockConfigTypeDef sClockSourceConfig = {0};
  TIM_MasterConfigTypeDef sMasterConfig = {0};
  TIM_OC_InitTypeDef sConfigOC = {0};

  htim2.Instance = TIM2;
  htim2.Init.Prescaler = 16-1;
  htim2.Init.CounterMode = TIM_COUNTERMODE_UP;
  htim2.Init.Period = 99;
  htim2.Init.ClockDivision = TIM_CLOCKDIVISION_DIV1;
  htim2.Init.AutoReloadPreload = TIM_AUTORELOAD_PRELOAD_DISABLE;
  if (HAL_TIM_Base_Init(&htim2) != HAL_OK)
  {
    Error_Handler();
  }
  sClockSourceConfig.ClockSource = TIM_CLOCKSOURCE_INTERNAL;
  if (HAL_TIM_ConfigClockSource(&htim2, &sClockSourceConfig) != HAL_OK)
  {
    Error_Handler();
  }
  if (HAL_TIM_PWM_Init(&htim2) != HAL_OK)
  {
    Error_Handler();
  }
  sMasterConfig.MasterOutputTrigger = TIM_TRGO_RESET;
  sMasterConfig.MasterSlaveMode = TIM_MASTERSLAVEMODE_DISABLE;
  if (HAL_TIMEx_MasterConfigSynchronization(&htim2, &sMasterConfig) != HAL_OK)
  {
    Error_Handler();
  }
  sConfigOC.OCMode = TIM_OCMODE_PWM1;
  sConfigOC.Pulse = 0;
  sConfigOC.OCPolarity = TIM_OCPOLARITY_HIGH;
  sConfigOC.OCFastMode = TIM_OCFAST_DISABLE;
  if (HAL_TIM_PWM_ConfigChannel(&htim2, &sConfigOC, TIM_CHANNEL_1) != HAL_OK)
  {
    Error_Handler();
  }
  if (HAL_TIM_PWM_ConfigChannel(&htim2, &sConfigOC, TIM_CHANNEL_4) != HAL_OK)
  {
    Error_Handler();
  }
  HAL_TIM_MspPostInit(&htim2);

}

static void MX_TIM3_Init(void)
{

  TIM_ClockConfigTypeDef sClockSourceConfig = {0};
  TIM_MasterConfigTypeDef sMasterConfig = {0};
  TIM_OC_InitTypeDef sConfigOC = {0};

  htim3.Instance = TIM3;
  htim3.Init.Prescaler = 16-1;
  htim3.Init.CounterMode = TIM_COUNTERMODE_UP;
  htim3.Init.Period = 99;
  htim3.Init.ClockDivision = TIM_CLOCKDIVISION_DIV1;
  htim3.Init.AutoReloadPreload = TIM_AUTORELOAD_PRELOAD_DISABLE;
  if (HAL_TIM_Base_Init(&htim3) != HAL_OK)
  {
    Error_Handler();
  }
  sClockSourceConfig.ClockSource = TIM_CLOCKSOURCE_INTERNAL;
  if (HAL_TIM_ConfigClockSource(&htim3, &sClockSourceConfig) != HAL_OK)
  {
    Error_Handler();
  }
  if (HAL_TIM_PWM_Init(&htim3) != HAL_OK)
  {
    Error_Handler();
  }
  sMasterConfig.MasterOutputTrigger = TIM_TRGO_RESET;
  sMasterConfig.MasterSlaveMode = TIM_MASTERSLAVEMODE_DISABLE;
  if (HAL_TIMEx_MasterConfigSynchronization(&htim3, &sMasterConfig) != HAL_OK)
  {
    Error_Handler();
  }
  sConfigOC.OCMode = TIM_OCMODE_PWM1;
  sConfigOC.Pulse = 0;
  sConfigOC.OCPolarity = TIM_OCPOLARITY_HIGH;
  sConfigOC.OCFastMode = TIM_OCFAST_DISABLE;
  if (HAL_TIM_PWM_ConfigChannel(&htim3, &sConfigOC, TIM_CHANNEL_1) != HAL_OK)
  {
    Error_Handler();
  }
  if (HAL_TIM_PWM_ConfigChannel(&htim3, &sConfigOC, TIM_CHANNEL_2) != HAL_OK)
  {
    Error_Handler();
  }
  if (HAL_TIM_PWM_ConfigChannel(&htim3, &sConfigOC, TIM_CHANNEL_3) != HAL_OK)
  {
    Error_Handler();
  }
  if (HAL_TIM_PWM_ConfigChannel(&htim3, &sConfigOC, TIM_CHANNEL_4) != HAL_OK)
  {
    Error_Handler();
  }
  HAL_TIM_MspPostInit(&htim3);

}

static void MX_TIM4_Init(void)
{

  TIM_ClockConfigTypeDef sClockSourceConfig = {0};
  TIM_MasterConfigTypeDef sMasterConfig = {0};

  htim4.Instance = TIM4;
  htim4.Init.Prescaler = 160-1;
  htim4.Init.CounterMode = TIM_COUNTERMODE_UP;
  htim4.Init.Period = 3999;
  htim4.Init.ClockDivision = TIM_CLOCKDIVISION_DIV1;
  htim4.Init.AutoReloadPreload = TIM_AUTORELOAD_PRELOAD_ENABLE;
  if (HAL_TIM_Base_Init(&htim4) != HAL_OK)
  {
    Error_Handler();
  }
  sClockSourceConfig.ClockSource = TIM_CLOCKSOURCE_INTERNAL;
  if (HAL_TIM_ConfigClockSource(&htim4, &sClockSourceConfig) != HAL_OK)
  {
    Error_Handler();
  }
  sMasterConfig.MasterOutputTrigger = TIM_TRGO_RESET;
  sMasterConfig.MasterSlaveMode = TIM_MASTERSLAVEMODE_DISABLE;
  if (HAL_TIMEx_MasterConfigSynchronization(&htim4, &sMasterConfig) != HAL_OK)
  {
    Error_Handler();
  }

}

static void MX_TIM5_Init(void)
{

  TIM_ClockConfigTypeDef sClockSourceConfig = {0};
  TIM_MasterConfigTypeDef sMasterConfig = {0};

  htim5.Instance = TIM5;
  htim5.Init.Prescaler = 160-1;
  htim5.Init.CounterMode = TIM_COUNTERMODE_UP;
  htim5.Init.Period = 7999;
  htim5.Init.ClockDivision = TIM_CLOCKDIVISION_DIV1;
  htim5.Init.AutoReloadPreload = TIM_AUTORELOAD_PRELOAD_ENABLE;
  if (HAL_TIM_Base_Init(&htim5) != HAL_OK)
  {
    Error_Handler();
  }
  sClockSourceConfig.ClockSource = TIM_CLOCKSOURCE_INTERNAL;
  if (HAL_TIM_ConfigClockSource(&htim5, &sClockSourceConfig) != HAL_OK)
  {
    Error_Handler();
  }
  sMasterConfig.MasterOutputTrigger = TIM_TRGO_RESET;
  sMasterConfig.MasterSlaveMode = TIM_MASTERSLAVEMODE_DISABLE;
  if (HAL_TIMEx_MasterConfigSynchronization(&htim5, &sMasterConfig) != HAL_OK)
  {
    Error_Handler();
  }

}

static void MX_USART3_UART_Init(void)
{

  huart3.Instance = USART3;
  huart3.Init.BaudRate = 1000000;
  huart3.Init.WordLength = UART_WORDLENGTH_8B;
  huart3.Init.StopBits = UART_STOPBITS_1;
  huart3.Init.Parity = UART_PARITY_NONE;
  huart3.Init.Mode = UART_MODE_TX_RX;
  huart3.Init.HwFlowCtl = UART_HWCONTROL_NONE;
  huart3.Init.OverSampling = UART_OVERSAMPLING_16;
  huart3.Init.OneBitSampling = UART_ONE_BIT_SAMPLE_DISABLE;
  huart3.Init.ClockPrescaler = UART_PRESCALER_DIV1;
  huart3.AdvancedInit.AdvFeatureInit = UART_ADVFEATURE_NO_INIT;
  if (HAL_UART_Init(&huart3) != HAL_OK)
  {
    Error_Handler();
  }
  if (HAL_UARTEx_SetTxFifoThreshold(&huart3, UART_TXFIFO_THRESHOLD_1_8) != HAL_OK)
  {
    Error_Handler();
  }
  if (HAL_UARTEx_SetRxFifoThreshold(&huart3, UART_RXFIFO_THRESHOLD_1_8) != HAL_OK)
  {
    Error_Handler();
  }
  if (HAL_UARTEx_DisableFifoMode(&huart3) != HAL_OK)
  {
    Error_Handler();
  }

}

static void MX_DMA_Init(void)
{

  /* Init with LL driver */
  /* DMA controller clock enable */
  LL_AHB1_GRP1_EnableClock(LL_AHB1_GRP1_PERIPH_DMAMUX1);
  LL_AHB1_GRP1_EnableClock(LL_AHB1_GRP1_PERIPH_DMA1);

  /* DMA interrupt init */
  /* DMA1_Channel1_IRQn interrupt configuration */
  HAL_NVIC_SetPriority(DMA1_Channel1_IRQn, 0, 1);
  HAL_NVIC_EnableIRQ(DMA1_Channel1_IRQn);
  /* DMA1_Channel2_IRQn interrupt configuration */
  NVIC_SetPriority(DMA1_Channel2_IRQn, NVIC_EncodePriority(NVIC_GetPriorityGrouping(),0, 1));
  NVIC_EnableIRQ(DMA1_Channel2_IRQn);

}

static void MX_GPIO_Init(void)
{
  GPIO_InitTypeDef GPIO_InitStruct = {0};

  /* GPIO Ports Clock Enable */
  __HAL_RCC_GPIOC_CLK_ENABLE();
  __HAL_RCC_GPIOF_CLK_ENABLE();
  __HAL_RCC_GPIOA_CLK_ENABLE();
  __HAL_RCC_GPIOB_CLK_ENABLE();

  /*Configure GPIO pin Output Level */
  HAL_GPIO_WritePin(GPIOC, LED1_Pin|LED2_Pin, GPIO_PIN_SET);

  /*Configure GPIO pin Output Level */
  HAL_GPIO_WritePin(FSW0_GPIO_Port, FSW0_Pin, GPIO_PIN_RESET);

  /*Configure GPIO pin Output Level */
  HAL_GPIO_WritePin(GPIOA, FSW1_Pin|FSW2_Pin|FSW3_Pin|FSW4_Pin, GPIO_PIN_RESET);

  /*Configure GPIO pin Output Level */
  HAL_GPIO_WritePin(FSW5_GPIO_Port, FSW5_Pin, GPIO_PIN_RESET);

  /*Configure GPIO pin Output Level */
  HAL_GPIO_WritePin(GPIOB, TMC_CS0_Pin|TMC_CS1_Pin|TMC_CS2_Pin|TMC_CS3_Pin, GPIO_PIN_SET);

  /*Configure GPIO pin Output Level */
  HAL_GPIO_WritePin(GPIOA, TMC_CS4_Pin|TMC_CS5_Pin, GPIO_PIN_SET);

  /*Configure GPIO pins : LED1_Pin LED2_Pin FSW0_Pin */
  GPIO_InitStruct.Pin = LED1_Pin|LED2_Pin|FSW0_Pin;
  GPIO_InitStruct.Mode = GPIO_MODE_OUTPUT_PP;
  GPIO_InitStruct.Pull = GPIO_NOPULL;
  GPIO_InitStruct.Speed = GPIO_SPEED_FREQ_LOW;
  HAL_GPIO_Init(GPIOC, &GPIO_InitStruct);

  /*Configure GPIO pins : FSW1_Pin FSW2_Pin FSW3_Pin FSW4_Pin */
  GPIO_InitStruct.Pin = FSW1_Pin|FSW2_Pin|FSW3_Pin|FSW4_Pin;
  GPIO_InitStruct.Mode = GPIO_MODE_OUTPUT_PP;
  GPIO_InitStruct.Pull = GPIO_NOPULL;
  GPIO_InitStruct.Speed = GPIO_SPEED_FREQ_LOW;
  HAL_GPIO_Init(GPIOA, &GPIO_InitStruct);

  /*Configure GPIO pin : I2C2_INT_Pin */
  GPIO_InitStruct.Pin = I2C2_INT_Pin;
  GPIO_InitStruct.Mode = GPIO_MODE_IT_FALLING;
  GPIO_InitStruct.Pull = GPIO_NOPULL;
  HAL_GPIO_Init(I2C2_INT_GPIO_Port, &GPIO_InitStruct);

  /*Configure GPIO pin : FSW5_Pin */
  GPIO_InitStruct.Pin = FSW5_Pin;
  GPIO_InitStruct.Mode = GPIO_MODE_OUTPUT_PP;
  GPIO_InitStruct.Pull = GPIO_NOPULL;
  GPIO_InitStruct.Speed = GPIO_SPEED_FREQ_LOW;
  HAL_GPIO_Init(FSW5_GPIO_Port, &GPIO_InitStruct);

  /*Configure GPIO pins : TMC_CS0_Pin TMC_CS1_Pin TMC_CS2_Pin TMC_CS3_Pin */
  GPIO_InitStruct.Pin = TMC_CS0_Pin|TMC_CS1_Pin|TMC_CS2_Pin|TMC_CS3_Pin;
  GPIO_InitStruct.Mode = GPIO_MODE_OUTPUT_PP;
  GPIO_InitStruct.Pull = GPIO_NOPULL;
  GPIO_InitStruct.Speed = GPIO_SPEED_FREQ_HIGH;
  HAL_GPIO_Init(GPIOB, &GPIO_InitStruct);

  /*Configure GPIO pins : TMC_CS4_Pin TMC_CS5_Pin */
  GPIO_InitStruct.Pin = TMC_CS4_Pin|TMC_CS5_Pin;
  GPIO_InitStruct.Mode = GPIO_MODE_OUTPUT_PP;
  GPIO_InitStruct.Pull = GPIO_NOPULL;
  GPIO_InitStruct.Speed = GPIO_SPEED_FREQ_HIGH;
  HAL_GPIO_Init(GPIOA, &GPIO_InitStruct);

  /*Configure GPIO pins : SW_Pin CAN_FLT_Pin */
  GPIO_InitStruct.Pin = SW_Pin|CAN_FLT_Pin;
  GPIO_InitStruct.Mode = GPIO_MODE_IT_FALLING;
  GPIO_InitStruct.Pull = GPIO_NOPULL;
  HAL_GPIO_Init(GPIOA, &GPIO_InitStruct);

  /*Configure GPIO pins : I2C4_INT_Pin I2C1_INT_Pin */
  GPIO_InitStruct.Pin = I2C4_INT_Pin|I2C1_INT_Pin;
  GPIO_InitStruct.Mode = GPIO_MODE_IT_FALLING;
  GPIO_InitStruct.Pull = GPIO_NOPULL;
  HAL_GPIO_Init(GPIOB, &GPIO_InitStruct);

  /* EXTI interrupt init*/
  HAL_NVIC_SetPriority(EXTI15_10_IRQn, 0, 0);
  HAL_NVIC_EnableIRQ(EXTI15_10_IRQn);

}

void Error_Handler(void)
{
  __disable_irq();
  while (1)
  {
  }
}
